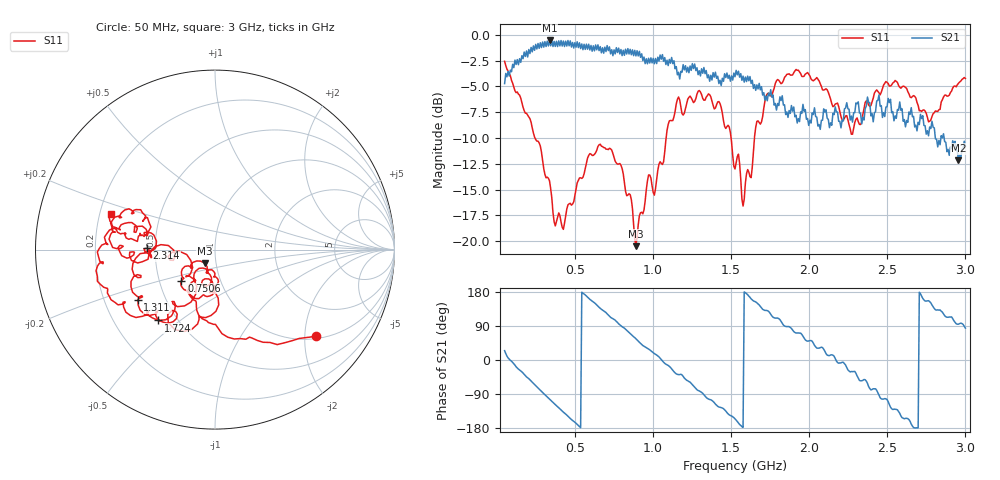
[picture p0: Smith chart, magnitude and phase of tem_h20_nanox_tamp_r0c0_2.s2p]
! nanovna_capture.py 2026-10-26T21:14:13+0900
! NanoVNA-F_V2 fw 0.6.0 SN 4A3639384505514B
! cal: load open short thru cal'ed  over 50000000-3000000000 Hz, 201 points
! points 401, avg 4
! TEM h=20, tampered Nano X, flat back down, 0 deg, centred, placement 2
# HZ S RI R 50
! S12 and S22 are not measured (written as 0)
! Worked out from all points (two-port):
!   401 points, 50 MHz to 3 GHz, reference 50 ohm
!   highest |S21| = -0.56 dB at 337.6 MHz (marker M1); lowest = -12.2 dB at 2.956 GHz (marker M2)
!   |S21| within 3 dB of the highest: 94.56 MHz to 1.153 GHz (1.059 GHz wide, 170 % of centre); 1.231 GHz to 1.286 GHz (54.09 MHz wide, 4.3 % of centre) (the widest 2 of 13)
!   lowest |S11| = -20.5 dB at 890.8 MHz (marker M3), VSWR 1.21, Z = 44.2 - j6.76 ohm
!   |S11| at or under -10 dB: 244.4 MHz to 1.084 GHz (839.7 MHz wide, 126 % of centre); 1.5 GHz to 1.65 GHz (149.8 MHz wide, 9.52 % of centre)
!   S12 and S22 are empty: the file has one direction only
!   S11 on the Smith chart (normalised r, x): 50 MHz: 1.06, -2.29; 750.6 MHz: 0.65, -0.24; 1.311 GHz: 0.35, -0.26; 1.724 GHz: 0.39, -0.42; 2.314 GHz: 0.45, +0.01; 3 GHz: 0.25, +0.16
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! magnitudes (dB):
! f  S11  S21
! 50 MHz  -2.6  -4.7
! 337.6 MHz  -14.2  -0.6
! 374.5 MHz  -18.5  -1.1
! 426.1 MHz  -18.9  -0.6
! 544.1 MHz  -13.9  -0.9
! 662.1 MHz  -10.6  -1.2
! 750.6 MHz  -11.9  -1.5
! 890.8 MHz  -20.5  -2.1
! 971.9 MHz  -13.6  -2.3
! 1.038 GHz  -12.5  -2.5
! 1.156 GHz  -6.3  -3.9
! 1.311 GHz  -5.8  -3.3
! 1.429 GHz  -6.7  -4.4
! 1.525 GHz  -13.0  -4.1
! 1.584 GHz  -15.9  -4.6
! 1.724 GHz  -5.9  -6.0
! 2.019 GHz  -4.4  -7.6
! 2.314 GHz  -8.4  -6.5
! 2.513 GHz  -5.0  -6.6
! 2.771 GHz  -8.4  -8.9
! 2.956 GHz  -4.7  -12.2
! 3 GHz  -4.2  -10.8
